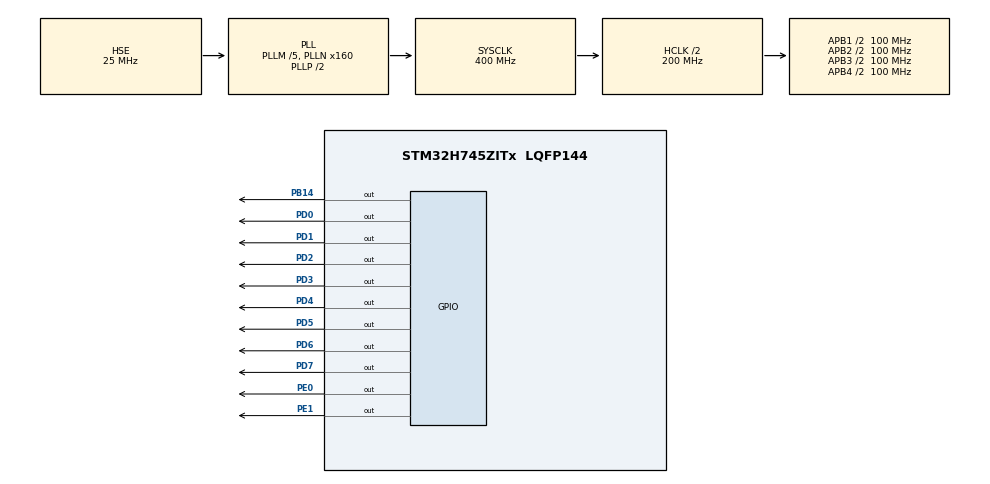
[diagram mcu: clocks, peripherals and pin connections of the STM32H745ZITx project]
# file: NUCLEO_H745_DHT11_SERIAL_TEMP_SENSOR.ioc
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CORTEX_M7.CPU_DCache=Enabled
CORTEX_M7.CPU_ICache=Enabled
CortexM4.IPs=FATFS_M4\:I,FREERTOS_M4\:I,IWDG2\:I,RCC,WWDG2\:I,DMA,BDMA,MDMA,NVIC2\:I,USART3,ETH,DEBUG,USB_DEVICE_M4\:I,USB_HOST_M4\:I,PDM2PCM_M4\:I,PWR,RESMGR_UTILITY,SYS_M4\:I,CORTEX_M4\:I,OPENAMP_M4\:I,VREFBUF
CortexM4.Pins=PE1
CortexM7.IPs=FATFS_M7\:I,FREERTOS_M7\:I,IWDG1\:I,RCC\:I,WWDG1\:I,DMA\:I,BDMA\:I,MDMA\:I,NVIC1\:I,SYS\:I,USART3\:I,USB_OTG_FS\:I,ETH\:I,CORTEX_M7\:I,DEBUG\:I,USB_DEVICE_M7\:I,USB_HOST_M7\:I,PDM2PCM_M7\:I,PWR\:I,RESMGR_UTILITY\:I,OPENAMP_M7\:I,VREFBUF\:I,TIM1\:I,TIM2\:I
CortexM7.Pins=PB14,PD0,PD1,PD2,PD3,PD4,PD5,PD6,PD7,PE0
Mcu.Family=STM32H7
Mcu.Name=STM32H745ZITx
Mcu.Package=LQFP144
NVIC1.PriorityGroup=NVIC_PRIORITYGROUP_4
NVIC2.PriorityGroup=NVIC_PRIORITYGROUP_4
PB14.PinAttribute=CortexM7
PB14.Signal=GPIO_Output
PD0.PinAttribute=CortexM7
PD0.PinState=GPIO_PIN_RESET
PD0.Signal=GPIO_Output
PD1.PinAttribute=CortexM7
PD1.Signal=GPIO_Output
PD2.PinAttribute=CortexM7
PD2.Signal=GPIO_Output
PD3.PinAttribute=CortexM7
PD3.Signal=GPIO_Output
PD4.PinAttribute=CortexM7
PD4.Signal=GPIO_Output
PD5.PinAttribute=CortexM7
PD5.Signal=GPIO_Output
PD6.PinAttribute=CortexM7
PD6.Signal=GPIO_Output
PD7.PinAttribute=CortexM7
PD7.Signal=GPIO_Output
PE0.PinAttribute=CortexM7
PE0.Signal=GPIO_Output
PE1.PinAttribute=CortexM4
PE1.Signal=GPIO_Output
PH0-OSC_IN\ (PH0).Mode=HSE-External-Oscillator
PH0-OSC_IN\ (PH0).PinAttribute=CortexM7
PH0-OSC_IN\ (PH0).Signal=RCC_OSC_IN
PH1-OSC_OUT\ (PH1).Mode=HSE-External-Oscillator
PH1-OSC_OUT\ (PH1).PinAttribute=CortexM7
PH1-OSC_OUT\ (PH1).Signal=RCC_OSC_OUT
ProjectManager.HeapSize=M4-0x200,M7-0x200
ProjectManager.StackSize=M4-0x400,M7-0x400
ProjectManager.TargetToolchain=STM32CubeIDE
RCC.ADCFreq_Value=50390625
RCC.APB1Freq_Value=100000000
RCC.APB2Freq_Value=100000000
RCC.APB3Freq_Value=100000000
RCC.APB4Freq_Value=100000000
RCC.CortexFreq_Value=400000000
RCC.D1PPRE=RCC_APB3_DIV2
RCC.D2PPRE1=RCC_APB1_DIV2
RCC.D2PPRE2=RCC_APB2_DIV2
RCC.D3PPRE=RCC_APB4_DIV2
RCC.DIVM1=5
RCC.DIVM3=1
RCC.DIVN1=160
RCC.DIVN3=24
RCC.DIVQ3=4
RCC.HCLKFreq_Value=200000000
RCC.HPRE=RCC_HCLK_DIV2
RCC.HSE_VALUE=25000000
RCC.PLL2FRACN=0
RCC.PLL3FRACN=0
RCC.PLLFRACN=0
RCC.PLLSourceVirtual=RCC_PLLSOURCE_HSE
RCC.SYSCLKFreq_VALUE=400000000
RCC.SYSCLKSource=RCC_SYSCLKSOURCE_PLLCLK
RCC.SupplySource=PWR_DIRECT_SMPS_SUPPLY
RCC.USBCLockSelection=RCC_USBCLKSOURCE_PLL3
RCC.USBFreq_Value=150000000
TIM1.Prescaler=1-1
TIM2.Period=4294967296-1
TIM2.Prescaler=170-1
VP_SYS_M4_VS_Systick.Mode=SysTick
VP_TIM1_VS_ClockSourceINT.Mode=Internal
VP_TIM2_VS_ClockSourceINT.Mode=Internal
board=NUCLEO-H745ZI-Q

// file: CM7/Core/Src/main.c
/* USER CODE BEGIN Header */
/**
  ******************************************************************************
  * @file           : main.c
  * @brief          : Main program body
  ******************************************************************************
  * @attention
  *
  * <h2><center>&copy; Copyright (c) 2021 STMicroelectronics.
  * All rights reserved.</center></h2>
  *
  * This software component is licensed by ST under BSD 3-Clause license,
  * the "License"; You may not use this file except in compliance with the
  * License. You may obtain a copy of the License at:
  *                        opensource.org/licenses/BSD-3-Clause
  *
  ******************************************************************************
  */
/* USER CODE END Header */
#include "main.h"

/* USER CODE BEGIN Includes */

#include "dht11_temp_sensor.h"
#include "nhd_20x4_LCD.h"

/* USER CODE END Includes */

/* USER CODE BEGIN PD */

#ifndef HSEM_ID_0
#define HSEM_ID_0 (0U) /* HW semaphore 0*/
#endif
/* USER CODE END PD */

TIM_HandleTypeDef htim1;
TIM_HandleTypeDef htim2;

void SystemClock_Config(void);
static void MX_GPIO_Init(void);
static void MX_TIM1_Init(void);
static void MX_TIM2_Init(void);
/* USER CODE BEGIN PFP */

void Display_Temp_Rh (float,float);
void Display_Rh (float);

/* USER CODE END PFP */

/* USER CODE BEGIN 0 */

void Display_Temp_Rh (float Temp, float Rh)
{
	char str_temp[20] = {0},
			str_Rh[20] = {0};
	//lcd_clear();
	lcd_put_cur(0, 0);

	sprintf (str_temp, "TEMP: %.2f ", Temp);
	sprintf (str_Rh, "RH: %.2f ", Rh);
	lcd_send_string(str_temp);
	lcd_send_data('C');
	lcd_put_cur(1, 0);
	lcd_send_string(str_Rh);
	lcd_send_data('%');
}

void Display_Rh (float Rh) //display Rh after temp
{
	char str[20] = {0};
	lcd_put_cur(1, 0);

	sprintf (str, "RH:- %.2f ", Rh);
	lcd_send_string(str);
	lcd_send_data('%');
}

/* USER CODE END 0 */

int main(void)
{
/* USER CODE BEGIN Boot_Mode_Sequence_0 */
  int32_t timeout;
/* USER CODE END Boot_Mode_Sequence_0 */

  /* Enable I-Cache---------------------------------------------------------*/
  SCB_EnableICache();

  /* Enable D-Cache---------------------------------------------------------*/
  SCB_EnableDCache();

/* USER CODE BEGIN Boot_Mode_Sequence_1 */
  /* Wait until CPU2 boots and enters in stop mode or timeout*/
//  timeout = 0xFFFF;
//  while((__HAL_RCC_GET_FLAG(RCC_FLAG_D2CKRDY) != RESET) && (timeout-- > 0));
//  if ( timeout < 0 )
//  {
//  Error_Handler();
//  }
/* USER CODE END Boot_Mode_Sequence_1 */
  /* MCU Configuration--------------------------------------------------------*/

  /* Reset of all peripherals, Initializes the Flash interface and the Systick. */
  HAL_Init();

  /* Configure the system clock */
  SystemClock_Config();
/* USER CODE BEGIN Boot_Mode_Sequence_2 */
/* When system initialization is finished, Cortex-M7 will release Cortex-M4 by means of
HSEM notification */
/*HW semaphore Clock enable*/
__HAL_RCC_HSEM_CLK_ENABLE();
/*Take HSEM */
//HAL_HSEM_FastTake(HSEM_ID_0);
///*Release HSEM in order to notify the CPU2(CM4)*/
//HAL_HSEM_Release(HSEM_ID_0,0);
///* wait until CPU2 wakes up from stop mode */
//timeout = 0xFFFF;
//while((__HAL_RCC_GET_FLAG(RCC_FLAG_D2CKRDY) == RESET) && (timeout-- > 0));
//if ( timeout < 0 )
//{
//Error_Handler();
//}
/* USER CODE END Boot_Mode_Sequence_2 */

  /* Initialize all configured peripherals */
  MX_GPIO_Init();
  MX_TIM1_Init();
  MX_TIM2_Init();
  /* USER CODE BEGIN 2 */

  nhd_LCD_Init();
  lcd_put_cur(0,1);
  lcd_send_string("hiiiii there");

  //delay_TEST();

  /* USER CODE END 2 */

  /* Infinite loop */
  while (1)
  {

    /* USER CODE BEGIN 3 */
	  HAL_GPIO_WritePin (DHT11_PORT, DHT11_PIN, 1);   	// pull the pin high
	  HAL_Delay(4000);									//wait 3 seconds
	  poll_DHT11();
	  Display_Temp_Rh(Temperature,Humidity);
	  //Display_Rh(Humidity);
	  //HAL_Delay(3000);

  }
  /* USER CODE END 3 */
}

void SystemClock_Config(void)
{
  RCC_OscInitTypeDef RCC_OscInitStruct = {0};
  RCC_ClkInitTypeDef RCC_ClkInitStruct = {0};

  /** Supply configuration update enable
  */
  HAL_PWREx_ConfigSupply(PWR_DIRECT_SMPS_SUPPLY);
  /** Configure the main internal regulator output voltage
  */
  __HAL_PWR_VOLTAGESCALING_CONFIG(PWR_REGULATOR_VOLTAGE_SCALE1);

  while(!__HAL_PWR_GET_FLAG(PWR_FLAG_VOSRDY)) {}
  /** Initializes the RCC Oscillators according to the specified parameters
  * in the RCC_OscInitTypeDef structure.
  */
  RCC_OscInitStruct.OscillatorType = RCC_OSCILLATORTYPE_HSE;
  RCC_OscInitStruct.HSEState = RCC_HSE_ON;
  RCC_OscInitStruct.PLL.PLLState = RCC_PLL_ON;
  RCC_OscInitStruct.PLL.PLLSource = RCC_PLLSOURCE_HSE;
  RCC_OscInitStruct.PLL.PLLM = 5;
  RCC_OscInitStruct.PLL.PLLN = 160;
  RCC_OscInitStruct.PLL.PLLP = 2;
  RCC_OscInitStruct.PLL.PLLQ = 2;
  RCC_OscInitStruct.PLL.PLLR = 2;
  RCC_OscInitStruct.PLL.PLLRGE = RCC_PLL1VCIRANGE_2;
  RCC_OscInitStruct.PLL.PLLVCOSEL = RCC_PLL1VCOWIDE;
  RCC_OscInitStruct.PLL.PLLFRACN = 0;
  if (HAL_RCC_OscConfig(&RCC_OscInitStruct) != HAL_OK)
  {
    Error_Handler();
  }
  /** Initializes the CPU, AHB and APB buses clocks
  */
  RCC_ClkInitStruct.ClockType = RCC_CLOCKTYPE_HCLK|RCC_CLOCKTYPE_SYSCLK
                              |RCC_CLOCKTYPE_PCLK1|RCC_CLOCKTYPE_PCLK2
                              |RCC_CLOCKTYPE_D3PCLK1|RCC_CLOCKTYPE_D1PCLK1;
  RCC_ClkInitStruct.SYSCLKSource = RCC_SYSCLKSOURCE_PLLCLK;
  RCC_ClkInitStruct.SYSCLKDivider = RCC_SYSCLK_DIV1;
  RCC_ClkInitStruct.AHBCLKDivider = RCC_HCLK_DIV2;
  RCC_ClkInitStruct.APB3CLKDivider = RCC_APB3_DIV2;
  RCC_ClkInitStruct.APB1CLKDivider = RCC_APB1_DIV2;
  RCC_ClkInitStruct.APB2CLKDivider = RCC_APB2_DIV2;
  RCC_ClkInitStruct.APB4CLKDivider = RCC_APB4_DIV2;

  if (HAL_RCC_ClockConfig(&RCC_ClkInitStruct, FLASH_LATENCY_2) != HAL_OK)
  {
    Error_Handler();
  }
}

static void MX_TIM1_Init(void)
{

  TIM_ClockConfigTypeDef sClockSourceConfig = {0};
  TIM_MasterConfigTypeDef sMasterConfig = {0};

  htim1.Instance = TIM1;
  htim1.Init.Prescaler = 1-1;
  htim1.Init.CounterMode = TIM_COUNTERMODE_UP;
  htim1.Init.Period = 65535;
  htim1.Init.ClockDivision = TIM_CLOCKDIVISION_DIV1;
  htim1.Init.RepetitionCounter = 0;
  htim1.Init.AutoReloadPreload = TIM_AUTORELOAD_PRELOAD_DISABLE;
  if (HAL_TIM_Base_Init(&htim1) != HAL_OK)
  {
    Error_Handler();
  }
  sClockSourceConfig.ClockSource = TIM_CLOCKSOURCE_INTERNAL;
  if (HAL_TIM_ConfigClockSource(&htim1, &sClockSourceConfig) != HAL_OK)
  {
    Error_Handler();
  }
  sMasterConfig.MasterOutputTrigger = TIM_TRGO_RESET;
  sMasterConfig.MasterOutputTrigger2 = TIM_TRGO2_RESET;
  sMasterConfig.MasterSlaveMode = TIM_MASTERSLAVEMODE_DISABLE;
  if (HAL_TIMEx_MasterConfigSynchronization(&htim1, &sMasterConfig) != HAL_OK)
  {
    Error_Handler();
  }

}

static void MX_TIM2_Init(void)
{

  TIM_ClockConfigTypeDef sClockSourceConfig = {0};
  TIM_MasterConfigTypeDef sMasterConfig = {0};

  htim2.Instance = TIM2;
  htim2.Init.Prescaler = 170-1;
  htim2.Init.CounterMode = TIM_COUNTERMODE_UP;
  htim2.Init.Period = 4294967296-1;
  htim2.Init.ClockDivision = TIM_CLOCKDIVISION_DIV1;
  htim2.Init.AutoReloadPreload = TIM_AUTORELOAD_PRELOAD_DISABLE;
  if (HAL_TIM_Base_Init(&htim2) != HAL_OK)
  {
    Error_Handler();
  }
  sClockSourceConfig.ClockSource = TIM_CLOCKSOURCE_INTERNAL;
  if (HAL_TIM_ConfigClockSource(&htim2, &sClockSourceConfig) != HAL_OK)
  {
    Error_Handler();
  }
  sMasterConfig.MasterOutputTrigger = TIM_TRGO_RESET;
  sMasterConfig.MasterSlaveMode = TIM_MASTERSLAVEMODE_DISABLE;
  if (HAL_TIMEx_MasterConfigSynchronization(&htim2, &sMasterConfig) != HAL_OK)
  {
    Error_Handler();
  }

}

static void MX_GPIO_Init(void)
{
  GPIO_InitTypeDef GPIO_InitStruct = {0};

  /* GPIO Ports Clock Enable */
  __HAL_RCC_GPIOH_CLK_ENABLE();
  __HAL_RCC_GPIOB_CLK_ENABLE();
  __HAL_RCC_GPIOD_CLK_ENABLE();
  __HAL_RCC_GPIOE_CLK_ENABLE();

  /*Configure GPIO pin Output Level */
  HAL_GPIO_WritePin(GPIOB, GPIO_PIN_14, GPIO_PIN_RESET);

  /*Configure GPIO pin Output Level */
  HAL_GPIO_WritePin(GPIOD, GPIO_PIN_0|GPIO_PIN_1|GPIO_PIN_2|GPIO_PIN_3
                          |GPIO_PIN_4|GPIO_PIN_5|GPIO_PIN_6|GPIO_PIN_7, GPIO_PIN_RESET);

  /*Configure GPIO pin Output Level */
  HAL_GPIO_WritePin(GPIOE, GPIO_PIN_0, GPIO_PIN_RESET);

  /*Configure GPIO pin : PB14 */
  GPIO_InitStruct.Pin = GPIO_PIN_14;
  GPIO_InitStruct.Mode = GPIO_MODE_OUTPUT_PP;
  GPIO_InitStruct.Pull = GPIO_NOPULL;
  GPIO_InitStruct.Speed = GPIO_SPEED_FREQ_LOW;
  HAL_GPIO_Init(GPIOB, &GPIO_InitStruct);

  /*Configure GPIO pins : PD0 PD1 PD2 PD3
                           PD4 PD5 PD6 PD7 */
  GPIO_InitStruct.Pin = GPIO_PIN_0|GPIO_PIN_1|GPIO_PIN_2|GPIO_PIN_3
                          |GPIO_PIN_4|GPIO_PIN_5|GPIO_PIN_6|GPIO_PIN_7;
  GPIO_InitStruct.Mode = GPIO_MODE_OUTPUT_PP;
  GPIO_InitStruct.Pull = GPIO_NOPULL;
  GPIO_InitStruct.Speed = GPIO_SPEED_FREQ_LOW;
  HAL_GPIO_Init(GPIOD, &GPIO_InitStruct);

  /*Configure GPIO pin : PE0 */
  GPIO_InitStruct.Pin = GPIO_PIN_0;
  GPIO_InitStruct.Mode = GPIO_MODE_OUTPUT_PP;
  GPIO_InitStruct.Pull = GPIO_NOPULL;
  GPIO_InitStruct.Speed = GPIO_SPEED_FREQ_LOW;
  HAL_GPIO_Init(GPIOE, &GPIO_InitStruct);

}

/* USER CODE BEGIN 4 */

// Callback: timer has rolled over
void HAL_TIM_PeriodElapsedCallback(TIM_HandleTypeDef *htim)
{
  // Check which version of the timer triggered this callback and toggle LED
  if (htim == &htim2 )
  {
    HAL_GPIO_TogglePin(GPIOE, GPIO_PIN_0);
  }
}

/* USER CODE END 4 */

void Error_Handler(void)
{
  __disable_irq();
  while (1)
  {
  }
}

/************************ (C) COPYRIGHT STMicroelectronics *****END OF FILE****/
